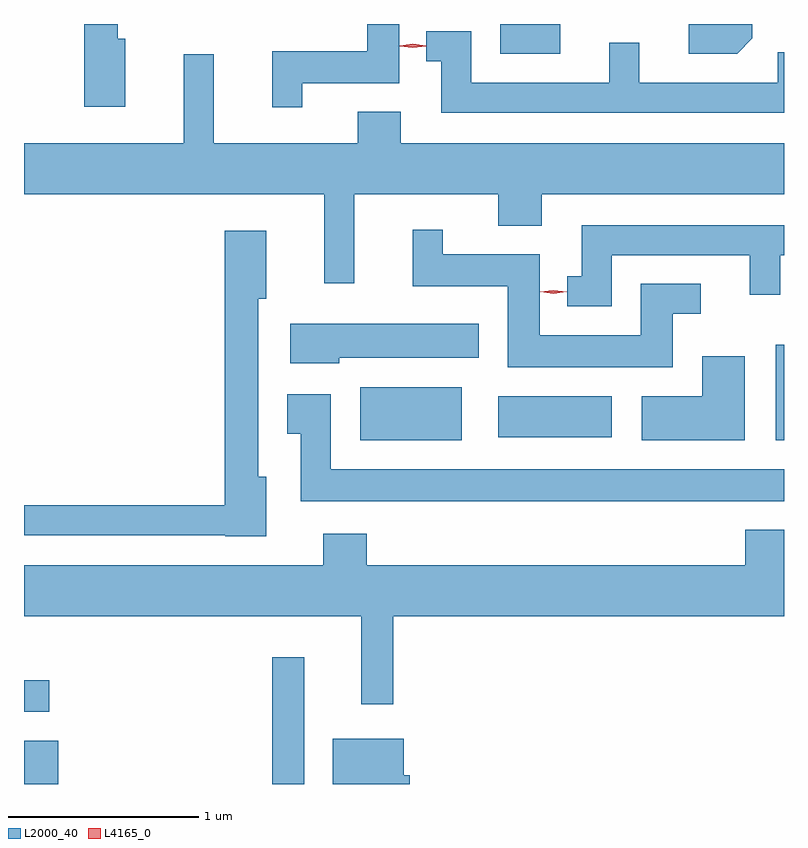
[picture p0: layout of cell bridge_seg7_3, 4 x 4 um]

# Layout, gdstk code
import gdstk
lib = gdstk.Library(unit=1e-6, precision=1e-09)
def R(c, l, rs):  # rectangles x0, y0, x1, y1
    for r in rs: c.add(gdstk.rectangle(r[:2], r[2:], *l))
def P(c, l, *ps):  # polygons
    for p in ps: c.add(gdstk.Polygon(p, *l))
L2000_40 = (2000, 40)
L4165_0 = (4165, 0)

bridge_seg7_3 = lib.new_cell('bridge_seg7_3')
R(bridge_seg7_3, L2000_40, [(1685.725,1791.132,1685.904,1791.359), (1687.031,1791.132,1687.199,1791.798), (1685.725,1791.511,1685.858,1791.679), (1687.496,1792.941,1688.029,1793.219), (1689.681,1792.941,1689.725,1793.444), (1688.221,1792.956,1688.819,1793.174), (1688.231,1794.976,1688.548,1795.132)])
P(bridge_seg7_3, L2000_40, [(1686.259,1795.054),(1686.219,1795.054),(1686.219,1795.132),(1686.041,1795.132),(1686.041,1794.696),(1686.259,1794.696)],
  [(1687.189,1794.821),(1687.699,1794.821),(1687.699,1795.132),(1687.531,1795.132),(1687.531,1794.989),(1687.031,1794.989),(1687.031,1794.693),(1687.189,1794.693)],
  [(1689.559,1795.057),(1689.559,1795.132),(1689.223,1795.132),(1689.223,1794.976),(1689.479,1794.976)],
  [(1689.725,1794.984),(1689.691,1794.984),(1689.691,1794.824),(1688.964,1794.824),(1688.964,1795.033),(1688.806,1795.033),(1688.806,1794.824),(1688.079,1794.824),(1688.079,1795.094),(1687.843,1795.094),(1687.843,1794.936),(1687.921,1794.936),(1687.921,1794.666),(1689.725,1794.666)],
  [(1687.464,1794.236),(1688.221,1794.236),(1688.221,1794.071),(1688.449,1794.071),(1688.449,1794.236),(1689.725,1794.236),(1689.725,1794.504),(1687.709,1794.504),(1687.709,1794.669),(1687.481,1794.669),(1687.481,1794.504),(1686.724,1794.504),(1686.724,1794.973),(1686.566,1794.973),(1686.566,1794.504),(1685.725,1794.504),(1685.725,1794.236),(1687.306,1794.236),(1687.306,1793.768),(1687.464,1793.768)],
  [(1688.819,1793.916),(1689.546,1793.916),(1689.546,1793.708),(1689.704,1793.708),(1689.704,1793.916),(1689.725,1793.916),(1689.725,1794.074),(1688.661,1794.074),(1688.661,1793.804),(1688.583,1793.804),(1688.583,1793.646),(1688.819,1793.646)],
  [(1689.139,1793.606),(1689.288,1793.606),(1689.288,1793.764),(1688.971,1793.764),(1688.971,1793.494),(1688.439,1793.494),(1688.439,1793.919),(1687.929,1793.919),(1687.929,1794.048),(1687.771,1794.048),(1687.771,1793.751),(1688.271,1793.751),(1688.271,1793.326),(1689.139,1793.326)],
  [(1686.999,1792.749),(1686.959,1792.749),(1686.959,1793.686),(1686.999,1793.686),(1686.999,1794.044),(1686.781,1794.044),(1686.781,1792.599),(1685.725,1792.599),(1685.725,1792.441),(1686.785,1792.441),(1686.785,1792.436),(1686.999,1792.436)],
  [(1687.384,1793.376),(1688.119,1793.376),(1688.119,1793.554),(1687.126,1793.554),(1687.126,1793.346),(1687.384,1793.346)],
  [(1689.519,1793.384),(1689.296,1793.384),(1689.296,1793.174),(1688.976,1793.174),(1688.976,1792.941),(1689.519,1792.941)],
  [(1689.725,1792.789),(1687.339,1792.789),(1687.339,1793.184),(1687.111,1793.184),(1687.111,1792.976),(1687.181,1792.976),(1687.181,1792.621),(1689.725,1792.621)],
  [(1687.669,1792.016),(1689.725,1792.016),(1689.725,1792.469),(1689.521,1792.469),(1689.521,1792.284),(1687.529,1792.284),(1687.529,1792.449),(1687.301,1792.449),(1687.301,1792.284),(1685.725,1792.284),(1685.725,1792.016),(1687.501,1792.016),(1687.501,1791.553),(1687.669,1791.553)],
  [(1687.754,1791.179),(1687.724,1791.179),(1687.724,1791.369),(1687.351,1791.369),(1687.351,1791.132),(1687.754,1791.132)])
P(bridge_seg7_3, L4165_0, [(1688.511,1793.712),(1688.442,1793.722),(1688.442,1793.722),(1688.442,1793.723),(1688.511,1793.732),(1688.581,1793.723),(1688.581,1793.723),(1688.581,1793.722)],
  [(1687.771,1795.007),(1687.702,1795.016),(1687.702,1795.017),(1687.702,1795.017),(1687.771,1795.027),(1687.841,1795.017),(1687.841,1795.016),(1687.841,1795.016)])

lib.write_gds('bridge_seg7_3.gds')
